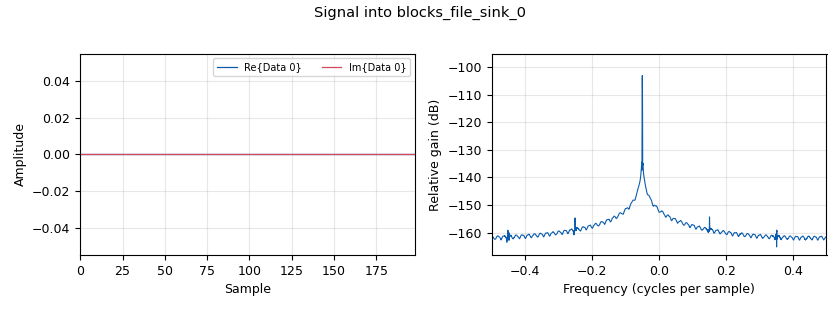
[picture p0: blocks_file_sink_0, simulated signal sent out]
options:
  parameters:
    generate_options: qt_gui
    id: listen
    output_language: python
    title: Key Fob Listen
  states: {}

blocks:
- name: bitstream
  id: variable
  parameters:
    value: '[1,1,1,1,1,1,1,1,1,1,1,1,1,1,1,1,1,1,1,1,1,1,1,1,1,1,1,0,0,0,0,0,0,0,0,0,0,0,0,0,0, 0, 1, 0, 1, 0, 1, 0, 1, 0, 1, 0, 1, 0, 1, 0, 1, 0, 1, 0, 1, 0, 1, 0, 1, 0, 1, 0, 1, 0, 1, 0, 1, 0, 1, 0, 1, 0, 1, 0, 1, 0, 1, 0, 1, 0, 1, 0, 1, 0, 1, 0, 1, 0, 1, 0, 1, 0, 1, 0, 1, 0, 1, 0, 1, 0, 1, 0, 1, 0, 1, 0, 1, 0, 1, 0, 1, 0, 1, 0, 1, 0, 1, 0, 1, 0, 1, 0, 1, 0, 1, 0, 1, 0, 1, 0, 1, 0, 1, 0, 1, 0, 1, 0, 1, 0, 1, 0, 1, 0, 1, 0, 1, 0, 1, 0, 1, 0, 1, 0, 1, 0, 1, 0, 1, 0, 1, 0, 1, 0, 1, 0, 1, 0, 1, 0, 1, 0, 1, 0, 1, 0, 1, 0, 1, 0, 1, 0, 1, 0, 1, 0, 1, 0, 1, 0, 1, 0, 1, 0, 1, 0, 1, 0, 1, 0, 1, 0, 1, 0, 1, 0, 1, 0, 1, 0, 1, 0, 1, 0, 1, 0, 1, 0, 1, 0, 1, 0, 1, 0, 1, 0, 1, 0, 1, 0, 1, 0, 1, 0, 1, 0, 1, 0, 1, 0, 1, 0, 1, 0, 1, 0, 1, 0, 1, 0, 1, 0, 1, 0, 1, 0, 1, 0]'
  states: {}
- name: samp_rate
  id: variable
  parameters:
    value: 20e6
  states: {}
- name: analog_sig_source_x_1
  id: analog_sig_source_x
  parameters:
    amp: '1'
    freq: 439e6
    offset: '0'
    phase: '0'
    samp_rate: samp_rate
    type: complex
    waveform: analog.GR_SIN_WAVE
  states: {}
- name: blocks_file_sink_0
  id: blocks_file_sink
  parameters:
    file: /home/singern/Desktop/jeep-hacking/generated_wave.bin
    type: complex
  states: {}
- name: blocks_multiply_xx_0
  id: blocks_multiply_xx
  parameters:
    type: complex
  states: {}
- name: blocks_repeat_0
  id: blocks_repeat
  parameters:
    interp: '4167'
    type: complex
  states: {}
- name: blocks_throttle_0
  id: blocks_throttle
  parameters:
    samples_per_second: samp_rate
    type: complex
  states: {}
- name: blocks_vector_source_x_0
  id: blocks_vector_source_x
  parameters:
    repeat: 'False'
    type: complex
    vector: '[1,1,1,1,1,1,1,1,1,1,1,1,1,1,1,1,1,1,1,1,1,1,1,1,1,1,1,0,0,0,0,0,0,0,0,0,0,0,0,0,0, 0, 1, 0, 1, 0, 1, 0, 1, 0, 1, 0, 1, 0, 1, 0, 1, 0, 1, 0, 1, 0, 1, 0, 1, 0, 1, 0, 1, 0, 1, 0, 1, 0, 1, 0, 1, 0, 1, 0, 1, 0, 1, 0, 1, 0, 1, 0, 1, 0, 1, 0, 1, 0, 1, 0, 1, 0, 1, 0, 1, 0, 1, 0, 1, 0, 1, 0, 1, 0, 1, 0, 1, 0, 1, 0, 1, 0, 1, 0, 1, 0, 1, 0, 1, 0, 1, 0, 1, 0, 1, 0, 1, 0, 1, 0, 1, 0, 1, 0, 1, 0, 1, 0, 1, 0, 1, 0, 1, 0, 1, 0, 1, 0, 1, 0, 1, 0, 1, 0, 1, 0, 1, 0, 1, 0, 1, 0, 1, 0, 1, 0, 1, 0, 1, 0, 1, 0, 1, 0, 1, 0, 1, 0, 1, 0, 1, 0, 1, 0, 1, 0, 1, 0, 1, 0, 1, 0, 1, 0, 1, 0, 1, 0, 1, 0, 1, 0, 1, 0, 1, 0, 1, 0, 1, 0, 1, 0, 1, 0, 1, 0, 1, 0, 1, 0, 1, 0, 1, 0, 1, 0, 1, 0, 1, 0, 1, 0, 1, 0, 1, 0, 1, 0, 1, 0, 1, 0, 1, 0, 1, 0, 1, 0, 1, 0, 1, 0, 1, 0, 1, 0, 1, 0]'
  states: {state: disabled}
- name: blocks_vector_source_x_1
  id: blocks_vector_source_x
  parameters:
    repeat: 'False'
    type: complex
    vector: bitstream
  states: {state: disabled}
- name: blocks_vector_source_x_2
  id: blocks_vector_source_x
  parameters:
    repeat: 'False'
    type: complex
    vector: bitstream
  states: {}

connections:
- [analog_sig_source_x_1, '0', blocks_multiply_xx_0, '1']
- [blocks_multiply_xx_0, '0', blocks_throttle_0, '0']
- [blocks_repeat_0, '0', blocks_multiply_xx_0, '0']
- [blocks_throttle_0, '0', blocks_file_sink_0, '0']
- [blocks_vector_source_x_1, '0', blocks_repeat_0, '0']
- [blocks_vector_source_x_2, '0', blocks_repeat_0, '0']

metadata:
  file_format: 1
